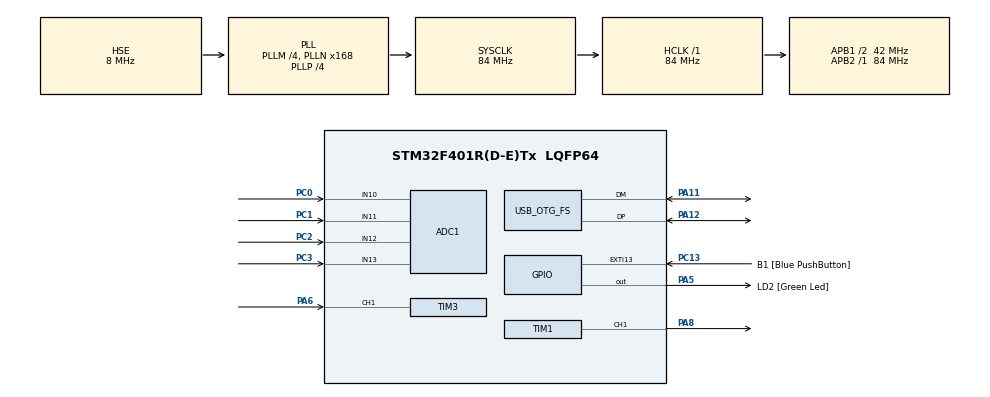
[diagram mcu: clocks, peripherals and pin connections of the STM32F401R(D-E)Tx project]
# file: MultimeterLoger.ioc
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ADC1.Channel-1\#ChannelRegularConversion=ADC_CHANNEL_10
ADC1.Channel-2\#ChannelInjectedConversion=ADC_CHANNEL_10
ADC1.Channel-3\#ChannelInjectedConversion=ADC_CHANNEL_11
ADC1.Channel-4\#ChannelInjectedConversion=ADC_CHANNEL_12
ADC1.Channel-5\#ChannelInjectedConversion=ADC_CHANNEL_13
ADC1.ContinuousConvMode=ENABLE
ADC1.EOCSelection=ADC_EOC_SEQ_CONV
ADC1.ExternalTrigInjecConv=ADC_EXTERNALTRIGINJECCONV_T1_TRGO
ADC1.InjNumberOfConversion=4
ADC1.InjectedOffset-2\#ChannelInjectedConversion=0
ADC1.InjectedOffset-3\#ChannelInjectedConversion=0
ADC1.InjectedOffset-4\#ChannelInjectedConversion=0
ADC1.InjectedOffset-5\#ChannelInjectedConversion=0
ADC1.InjectedRank-2\#ChannelInjectedConversion=1
ADC1.InjectedRank-3\#ChannelInjectedConversion=2
ADC1.InjectedRank-4\#ChannelInjectedConversion=3
ADC1.InjectedRank-5\#ChannelInjectedConversion=4
ADC1.NbrOfConversion=1
ADC1.NbrOfConversionFlag=1
ADC1.Rank-1\#ChannelRegularConversion=1
ADC1.SamplingTime-1\#ChannelRegularConversion=ADC_SAMPLETIME_3CYCLES
ADC1.SamplingTime-2\#ChannelInjectedConversion=ADC_SAMPLETIME_480CYCLES
ADC1.SamplingTime-3\#ChannelInjectedConversion=ADC_SAMPLETIME_480CYCLES
ADC1.SamplingTime-4\#ChannelInjectedConversion=ADC_SAMPLETIME_480CYCLES
ADC1.SamplingTime-5\#ChannelInjectedConversion=ADC_SAMPLETIME_480CYCLES
ADC1.master=1
Mcu.Family=STM32F4
Mcu.Name=STM32F401R(D-E)Tx
Mcu.Package=LQFP64
NVIC.ADC_IRQn=true\:0\:1\:false\:false\:true\:true\:true
NVIC.OTG_FS_IRQn=true\:0\:0\:false\:false\:true\:false\:true
NVIC.PriorityGroup=NVIC_PRIORITYGROUP_2
NVIC.TIM3_IRQn=true\:1\:0\:true\:false\:true\:true\:true
PA11.Mode=Device_Only
PA11.Signal=USB_OTG_FS_DM
PA12.Mode=Device_Only
PA12.Signal=USB_OTG_FS_DP
PA13.GPIO_Label=TMS
PA13.Mode=Serial_Wire
PA13.Signal=SYS_JTMS-SWDIO
PA14.GPIO_Label=TCK
PA14.Mode=Serial_Wire
PA14.Signal=SYS_JTCK-SWCLK
PA2.GPIO_Label=USART_TX
PA2.GPIO_Mode=GPIO_MODE_AF_PP
PA2.GPIO_PuPd=GPIO_NOPULL
PA2.GPIO_Speed=GPIO_SPEED_FREQ_LOW
PA2.Signal=USART2_TX
PA3.GPIO_Label=USART_RX
PA3.GPIO_Mode=GPIO_MODE_AF_PP
PA3.GPIO_PuPd=GPIO_NOPULL
PA3.GPIO_Speed=GPIO_SPEED_FREQ_LOW
PA3.Signal=USART2_RX
PA5.GPIO_Label=LD2 [Green Led]
PA5.GPIO_Mode=GPIO_MODE_OUTPUT_PP
PA5.GPIO_PuPd=GPIO_NOPULL
PA5.GPIO_Speed=GPIO_SPEED_FREQ_LOW
PA5.Signal=GPIO_Output
PA6.Signal=S_TIM3_CH1
PA8.Signal=S_TIM1_CH1
PB3.GPIO_Label=SWO
PB3.Signal=SYS_JTDO-SWO
PC0.Signal=ADCx_IN10
PC1.Signal=ADCx_IN11
PC13-ANTI_TAMP.GPIO_Label=B1 [Blue PushButton]
PC13-ANTI_TAMP.GPIO_ModeDefaultEXTI=GPIO_MODE_IT_FALLING
PC13-ANTI_TAMP.GPIO_PuPd=GPIO_NOPULL
PC13-ANTI_TAMP.Signal=GPXTI13
PC14-OSC32_IN.Mode=LSE-External-Oscillator
PC14-OSC32_IN.Signal=RCC_OSC32_IN
PC15-OSC32_OUT.Mode=LSE-External-Oscillator
PC15-OSC32_OUT.Signal=RCC_OSC32_OUT
PC2.Signal=ADCx_IN12
PC3.Signal=ADCx_IN13
PH0\ -\ OSC_IN.Mode=HSE-External-Clock-Source
PH0\ -\ OSC_IN.Signal=RCC_OSC_IN
PH1\ -\ OSC_OUT.Mode=HSE-External-Clock-Source
PH1\ -\ OSC_OUT.Signal=RCC_OSC_OUT
ProjectManager.HeapSize=0x200
ProjectManager.StackSize=0x600
ProjectManager.TargetToolchain=STM32CubeIDE
RCC.48MHZClocksFreq_Value=48000000
RCC.AHBFreq_Value=84000000
RCC.APB1CLKDivider=RCC_HCLK_DIV2
RCC.APB1Freq_Value=42000000
RCC.APB1TimFreq_Value=84000000
RCC.APB2Freq_Value=84000000
RCC.APB2TimFreq_Value=84000000
RCC.CortexFreq_Value=84000000
RCC.HCLKFreq_Value=84000000
RCC.HSE_VALUE=8000000
RCC.HSI_VALUE=16000000
RCC.PLLM=4
RCC.PLLN=168
RCC.PLLP=RCC_PLLP_DIV4
RCC.PLLQ=7
RCC.SYSCLKFreq_VALUE=84000000
RCC.SYSCLKSource=RCC_SYSCLKSOURCE_PLLCLK
RCC.VCOOutputFreq_Value=336000000
SH.ADCx_IN10.0=ADC1_IN10,IN10
SH.ADCx_IN11.0=ADC1_IN11,IN11
SH.ADCx_IN12.0=ADC1_IN12,IN12
SH.ADCx_IN13.0=ADC1_IN13,IN13
SH.S_TIM1_CH1.0=TIM1_CH1,PWM Generation1 CH1
SH.S_TIM3_CH1.0=TIM3_CH1,PWM_Input_1
TIM1.Channel-PWM\ Generation1\ CH1=TIM_CHANNEL_1
TIM1.Period=4199
TIM1.Prescaler=1
TIM1.RepetitionCounter=1
TIM1.TIM_MasterOutputTrigger=TIM_TRGO_UPDATE
TIM1.TIM_MasterSlaveMode=TIM_MASTERSLAVEMODE_ENABLE
TIM3.Period=65535
TIM3.Prescaler=399
USB_DEVICE.APP_RX_DATA_SIZE-CDC_FS=50
USB_DEVICE.CLASS_NAME_FS=CDC
USB_DEVICE.VirtualMode-CDC_FS=Cdc
USB_DEVICE.VirtualModeFS=Cdc_FS
USB_OTG_FS.VirtualMode=Device_Only
VP_TIM1_VS_ClockSourceINT.Mode=Internal
VP_TIM3_VS_ClockSourceINT.Mode=Internal
VP_USB_DEVICE_VS_USB_DEVICE_CDC_FS.Mode=CDC_FS
board=NUCLEO-F401RE

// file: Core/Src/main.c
/* USER CODE BEGIN Header */
/**
  ******************************************************************************
  * @file           : main.c
  * @brief          : Main program body
  ******************************************************************************
  * @attention
  *
  * <h2><center>&copy; Copyright (c) 2020 STMicroelectronics.
  * All rights reserved.</center></h2>
  *
  * This software component is licensed by ST under BSD 3-Clause license,
  * the "License"; You may not use this file except in compliance with the
  * License. You may obtain a copy of the License at:
  *                        opensource.org/licenses/BSD-3-Clause
  *
  ******************************************************************************
  */
/* USER CODE END Header */
#include "main.h"
#include "usb_device.h"

/* USER CODE BEGIN Includes */
#include "tess_data_acq_output.h"
/* USER CODE END Includes */

ADC_HandleTypeDef hadc1;

TIM_HandleTypeDef htim1;
TIM_HandleTypeDef htim3;

void SystemClock_Config(void);
static void MX_GPIO_Init(void);
static void MX_ADC1_Init(void);
static void MX_TIM1_Init(void);
static void MX_TIM3_Init(void);

/* USER CODE BEGIN 0 */
uint32_t MainClock;
void TessSpeedCalculation(void);
/* USER CODE END 0 */

int main(void)
{

  /* MCU Configuration--------------------------------------------------------*/

  /* Reset of all peripherals, Initializes the Flash interface and the Systick. */
   HAL_Init();

  /* Configure the system clock */
  SystemClock_Config();

  /* Initialize all configured peripherals */
  MX_GPIO_Init();
  MX_ADC1_Init();
  MX_TIM1_Init();
  MX_TIM3_Init();
  MX_USB_DEVICE_Init();
  /* USER CODE BEGIN 2 */
  TESS_DAS_INIT();
  /* USER CODE END 2 */

  /* Infinite loop */
  while (1)
  {

  }
}

void SystemClock_Config(void)
{
  RCC_OscInitTypeDef RCC_OscInitStruct = {0};
  RCC_ClkInitTypeDef RCC_ClkInitStruct = {0};

  /** Configure the main internal regulator output voltage
  */
  __HAL_RCC_PWR_CLK_ENABLE();
  __HAL_PWR_VOLTAGESCALING_CONFIG(PWR_REGULATOR_VOLTAGE_SCALE2);
  /** Initializes the RCC Oscillators according to the specified parameters
  * in the RCC_OscInitTypeDef structure.
  */
  RCC_OscInitStruct.OscillatorType = RCC_OSCILLATORTYPE_HSE;
  RCC_OscInitStruct.HSEState = RCC_HSE_BYPASS;
  RCC_OscInitStruct.PLL.PLLState = RCC_PLL_ON;
  RCC_OscInitStruct.PLL.PLLSource = RCC_PLLSOURCE_HSE;
  RCC_OscInitStruct.PLL.PLLM = 4;
  RCC_OscInitStruct.PLL.PLLN = 168;
  RCC_OscInitStruct.PLL.PLLP = RCC_PLLP_DIV4;
  RCC_OscInitStruct.PLL.PLLQ = 7;
  if (HAL_RCC_OscConfig(&RCC_OscInitStruct) != HAL_OK)
  {
    Error_Handler();
  }
  /** Initializes the CPU, AHB and APB buses clocks
  */
  RCC_ClkInitStruct.ClockType = RCC_CLOCKTYPE_HCLK|RCC_CLOCKTYPE_SYSCLK
                              |RCC_CLOCKTYPE_PCLK1|RCC_CLOCKTYPE_PCLK2;
  RCC_ClkInitStruct.SYSCLKSource = RCC_SYSCLKSOURCE_PLLCLK;
  RCC_ClkInitStruct.AHBCLKDivider = RCC_SYSCLK_DIV1;
  RCC_ClkInitStruct.APB1CLKDivider = RCC_HCLK_DIV2;
  RCC_ClkInitStruct.APB2CLKDivider = RCC_HCLK_DIV1;

  if (HAL_RCC_ClockConfig(&RCC_ClkInitStruct, FLASH_LATENCY_2) != HAL_OK)
  {
    Error_Handler();
  }
}

static void MX_ADC1_Init(void)
{

  ADC_ChannelConfTypeDef sConfig = {0};
  ADC_InjectionConfTypeDef sConfigInjected = {0};

  /** Configure the global features of the ADC (Clock, Resolution, Data Alignment and number of conversion)
  */
  hadc1.Instance = ADC1;
  hadc1.Init.ClockPrescaler = ADC_CLOCK_SYNC_PCLK_DIV4;
  hadc1.Init.Resolution = ADC_RESOLUTION_12B;
  hadc1.Init.ScanConvMode = ENABLE;
  hadc1.Init.ContinuousConvMode = ENABLE;
  hadc1.Init.DiscontinuousConvMode = DISABLE;
  hadc1.Init.ExternalTrigConvEdge = ADC_EXTERNALTRIGCONVEDGE_NONE;
  hadc1.Init.ExternalTrigConv = ADC_SOFTWARE_START;
  hadc1.Init.DataAlign = ADC_DATAALIGN_RIGHT;
  hadc1.Init.NbrOfConversion = 1;
  hadc1.Init.DMAContinuousRequests = DISABLE;
  hadc1.Init.EOCSelection = ADC_EOC_SEQ_CONV;
  if (HAL_ADC_Init(&hadc1) != HAL_OK)
  {
    Error_Handler();
  }
  /** Configure for the selected ADC regular channel its corresponding rank in the sequencer and its sample time.
  */
  sConfig.Channel = ADC_CHANNEL_10;
  sConfig.Rank = 1;
  sConfig.SamplingTime = ADC_SAMPLETIME_3CYCLES;
  if (HAL_ADC_ConfigChannel(&hadc1, &sConfig) != HAL_OK)
  {
    Error_Handler();
  }
  /** Configures for the selected ADC injected channel its corresponding rank in the sequencer and its sample time
  */
  sConfigInjected.InjectedChannel = ADC_CHANNEL_10;
  sConfigInjected.InjectedRank = 1;
  sConfigInjected.InjectedNbrOfConversion = 4;
  sConfigInjected.InjectedSamplingTime = ADC_SAMPLETIME_480CYCLES;
  sConfigInjected.ExternalTrigInjecConvEdge = ADC_EXTERNALTRIGINJECCONVEDGE_RISING;
  sConfigInjected.ExternalTrigInjecConv = ADC_EXTERNALTRIGINJECCONV_T1_TRGO;
  sConfigInjected.AutoInjectedConv = DISABLE;
  sConfigInjected.InjectedDiscontinuousConvMode = DISABLE;
  sConfigInjected.InjectedOffset = 0;
  if (HAL_ADCEx_InjectedConfigChannel(&hadc1, &sConfigInjected) != HAL_OK)
  {
    Error_Handler();
  }
  /** Configures for the selected ADC injected channel its corresponding rank in the sequencer and its sample time
  */
  sConfigInjected.InjectedChannel = ADC_CHANNEL_11;
  sConfigInjected.InjectedRank = 2;
  if (HAL_ADCEx_InjectedConfigChannel(&hadc1, &sConfigInjected) != HAL_OK)
  {
    Error_Handler();
  }
  /** Configures for the selected ADC injected channel its corresponding rank in the sequencer and its sample time
  */
  sConfigInjected.InjectedChannel = ADC_CHANNEL_12;
  sConfigInjected.InjectedRank = 3;
  if (HAL_ADCEx_InjectedConfigChannel(&hadc1, &sConfigInjected) != HAL_OK)
  {
    Error_Handler();
  }
  /** Configures for the selected ADC injected channel its corresponding rank in the sequencer and its sample time
  */
  sConfigInjected.InjectedChannel = ADC_CHANNEL_13;
  sConfigInjected.InjectedRank = 4;
  if (HAL_ADCEx_InjectedConfigChannel(&hadc1, &sConfigInjected) != HAL_OK)
  {
    Error_Handler();
  }
  /* USER CODE BEGIN ADC1_Init 2 */
  HAL_ADCEx_InjectedStart_IT(&hadc1);
  /* USER CODE END ADC1_Init 2 */

}

static void MX_TIM1_Init(void)
{

  TIM_ClockConfigTypeDef sClockSourceConfig = {0};
  TIM_MasterConfigTypeDef sMasterConfig = {0};
  TIM_OC_InitTypeDef sConfigOC = {0};
  TIM_BreakDeadTimeConfigTypeDef sBreakDeadTimeConfig = {0};

  htim1.Instance = TIM1;
  htim1.Init.Prescaler = 1;
  htim1.Init.CounterMode = TIM_COUNTERMODE_UP;
  htim1.Init.Period = 4199;
  htim1.Init.ClockDivision = TIM_CLOCKDIVISION_DIV1;
  htim1.Init.RepetitionCounter = 1;
  htim1.Init.AutoReloadPreload = TIM_AUTORELOAD_PRELOAD_DISABLE;
  if (HAL_TIM_Base_Init(&htim1) != HAL_OK)
  {
    Error_Handler();
  }
  sClockSourceConfig.ClockSource = TIM_CLOCKSOURCE_INTERNAL;
  if (HAL_TIM_ConfigClockSource(&htim1, &sClockSourceConfig) != HAL_OK)
  {
    Error_Handler();
  }
  if (HAL_TIM_PWM_Init(&htim1) != HAL_OK)
  {
    Error_Handler();
  }
  sMasterConfig.MasterOutputTrigger = TIM_TRGO_UPDATE;
  sMasterConfig.MasterSlaveMode = TIM_MASTERSLAVEMODE_ENABLE;
  if (HAL_TIMEx_MasterConfigSynchronization(&htim1, &sMasterConfig) != HAL_OK)
  {
    Error_Handler();
  }
  sConfigOC.OCMode = TIM_OCMODE_PWM1;
  sConfigOC.Pulse = 0;
  sConfigOC.OCPolarity = TIM_OCPOLARITY_HIGH;
  sConfigOC.OCNPolarity = TIM_OCNPOLARITY_HIGH;
  sConfigOC.OCFastMode = TIM_OCFAST_DISABLE;
  sConfigOC.OCIdleState = TIM_OCIDLESTATE_RESET;
  sConfigOC.OCNIdleState = TIM_OCNIDLESTATE_RESET;
  if (HAL_TIM_PWM_ConfigChannel(&htim1, &sConfigOC, TIM_CHANNEL_1) != HAL_OK)
  {
    Error_Handler();
  }
  sBreakDeadTimeConfig.OffStateRunMode = TIM_OSSR_DISABLE;
  sBreakDeadTimeConfig.OffStateIDLEMode = TIM_OSSI_DISABLE;
  sBreakDeadTimeConfig.LockLevel = TIM_LOCKLEVEL_OFF;
  sBreakDeadTimeConfig.DeadTime = 0;
  sBreakDeadTimeConfig.BreakState = TIM_BREAK_DISABLE;
  sBreakDeadTimeConfig.BreakPolarity = TIM_BREAKPOLARITY_HIGH;
  sBreakDeadTimeConfig.AutomaticOutput = TIM_AUTOMATICOUTPUT_DISABLE;
  if (HAL_TIMEx_ConfigBreakDeadTime(&htim1, &sBreakDeadTimeConfig) != HAL_OK)
  {
    Error_Handler();
  }
  HAL_TIM_MspPostInit(&htim1);

}

static void MX_TIM3_Init(void)
{

  TIM_ClockConfigTypeDef sClockSourceConfig = {0};
  TIM_SlaveConfigTypeDef sSlaveConfig = {0};
  TIM_IC_InitTypeDef sConfigIC = {0};
  TIM_MasterConfigTypeDef sMasterConfig = {0};

  htim3.Instance = TIM3;
  htim3.Init.Prescaler = 399;
  htim3.Init.CounterMode = TIM_COUNTERMODE_UP;
  htim3.Init.Period = 65535;
  htim3.Init.ClockDivision = TIM_CLOCKDIVISION_DIV1;
  htim3.Init.AutoReloadPreload = TIM_AUTORELOAD_PRELOAD_DISABLE;
  if (HAL_TIM_Base_Init(&htim3) != HAL_OK)
  {
    Error_Handler();
  }
  sClockSourceConfig.ClockSource = TIM_CLOCKSOURCE_INTERNAL;
  if (HAL_TIM_ConfigClockSource(&htim3, &sClockSourceConfig) != HAL_OK)
  {
    Error_Handler();
  }
  if (HAL_TIM_IC_Init(&htim3) != HAL_OK)
  {
    Error_Handler();
  }
  sSlaveConfig.SlaveMode = TIM_SLAVEMODE_RESET;
  sSlaveConfig.InputTrigger = TIM_TS_TI1FP1;
  sSlaveConfig.TriggerPolarity = TIM_INPUTCHANNELPOLARITY_RISING;
  sSlaveConfig.TriggerPrescaler = TIM_ICPSC_DIV1;
  sSlaveConfig.TriggerFilter = 0;
  if (HAL_TIM_SlaveConfigSynchro(&htim3, &sSlaveConfig) != HAL_OK)
  {
    Error_Handler();
  }
  sConfigIC.ICPolarity = TIM_INPUTCHANNELPOLARITY_RISING;
  sConfigIC.ICSelection = TIM_ICSELECTION_DIRECTTI;
  sConfigIC.ICPrescaler = TIM_ICPSC_DIV1;
  sConfigIC.ICFilter = 0;
  if (HAL_TIM_IC_ConfigChannel(&htim3, &sConfigIC, TIM_CHANNEL_1) != HAL_OK)
  {
    Error_Handler();
  }
  sConfigIC.ICPolarity = TIM_INPUTCHANNELPOLARITY_FALLING;
  sConfigIC.ICSelection = TIM_ICSELECTION_INDIRECTTI;
  if (HAL_TIM_IC_ConfigChannel(&htim3, &sConfigIC, TIM_CHANNEL_2) != HAL_OK)
  {
    Error_Handler();
  }
  sMasterConfig.MasterOutputTrigger = TIM_TRGO_RESET;
  sMasterConfig.MasterSlaveMode = TIM_MASTERSLAVEMODE_DISABLE;
  if (HAL_TIMEx_MasterConfigSynchronization(&htim3, &sMasterConfig) != HAL_OK)
  {
    Error_Handler();
  }
  /* USER CODE BEGIN TIM3_Init 2 */
  HAL_TIM_IC_Start_IT(&htim3,TIM_CHANNEL_1);
  HAL_TIM_IC_Start_IT(&htim3,TIM_CHANNEL_2);
  /* USER CODE END TIM3_Init 2 */

}

static void MX_GPIO_Init(void)
{
  GPIO_InitTypeDef GPIO_InitStruct = {0};

  /* GPIO Ports Clock Enable */
  __HAL_RCC_GPIOC_CLK_ENABLE();
  __HAL_RCC_GPIOH_CLK_ENABLE();
  __HAL_RCC_GPIOA_CLK_ENABLE();
  __HAL_RCC_GPIOB_CLK_ENABLE();

  /*Configure GPIO pin Output Level */
  HAL_GPIO_WritePin(LD2_GPIO_Port, LD2_Pin, GPIO_PIN_RESET);

  /*Configure GPIO pin : B1_Pin */
  GPIO_InitStruct.Pin = B1_Pin;
  GPIO_InitStruct.Mode = GPIO_MODE_IT_FALLING;
  GPIO_InitStruct.Pull = GPIO_NOPULL;
  HAL_GPIO_Init(B1_GPIO_Port, &GPIO_InitStruct);

  /*Configure GPIO pins : USART_TX_Pin USART_RX_Pin */
  GPIO_InitStruct.Pin = USART_TX_Pin|USART_RX_Pin;
  GPIO_InitStruct.Mode = GPIO_MODE_AF_PP;
  GPIO_InitStruct.Pull = GPIO_NOPULL;
  GPIO_InitStruct.Speed = GPIO_SPEED_FREQ_LOW;
  GPIO_InitStruct.Alternate = GPIO_AF7_USART2;
  HAL_GPIO_Init(GPIOA, &GPIO_InitStruct);

  /*Configure GPIO pin : LD2_Pin */
  GPIO_InitStruct.Pin = LD2_Pin;
  GPIO_InitStruct.Mode = GPIO_MODE_OUTPUT_PP;
  GPIO_InitStruct.Pull = GPIO_NOPULL;
  GPIO_InitStruct.Speed = GPIO_SPEED_FREQ_LOW;
  HAL_GPIO_Init(LD2_GPIO_Port, &GPIO_InitStruct);

}

/* USER CODE BEGIN 4 */
void HAL_ADCEx_InjectedConvCpltCallback(ADC_HandleTypeDef* hadc)
{

	TessSpeedCalculation();
	TESS_DAS_MAIN();
	/*Debug*/
	/*MainClock++;
	HAL_GPIO_TogglePin(LD2_GPIO_Port, LD2_Pin);*/
}

void HAL_TIM_IC_CaptureCallback(TIM_HandleTypeDef *htim)
{
	Set_TessDasInputCapture(HAL_TIM_ReadCapturedValue(htim, TIM_CHANNEL_1));
}

void TessSpeedCalculation(void)
{
	uint16_t AdcMotVoltValue = 0;
	float    Frequency;
	AdcMotVoltValue = hadc1.Instance->JDR1;
	AdcMotVoltValue = (AdcMotVoltValue * 3300)/4095;
	Set_TessDasADC_CH_1(AdcMotVoltValue * 3);

	Frequency = HAL_RCC_GetSysClockFreq()/((float)Get_TessDasInputCapture()*(float)(htim3.Init.Prescaler));
	Set_TessDasSpeed((Frequency*60.0F)/11.0F);
}
/* USER CODE END 4 */

void Error_Handler(void)
{
}
